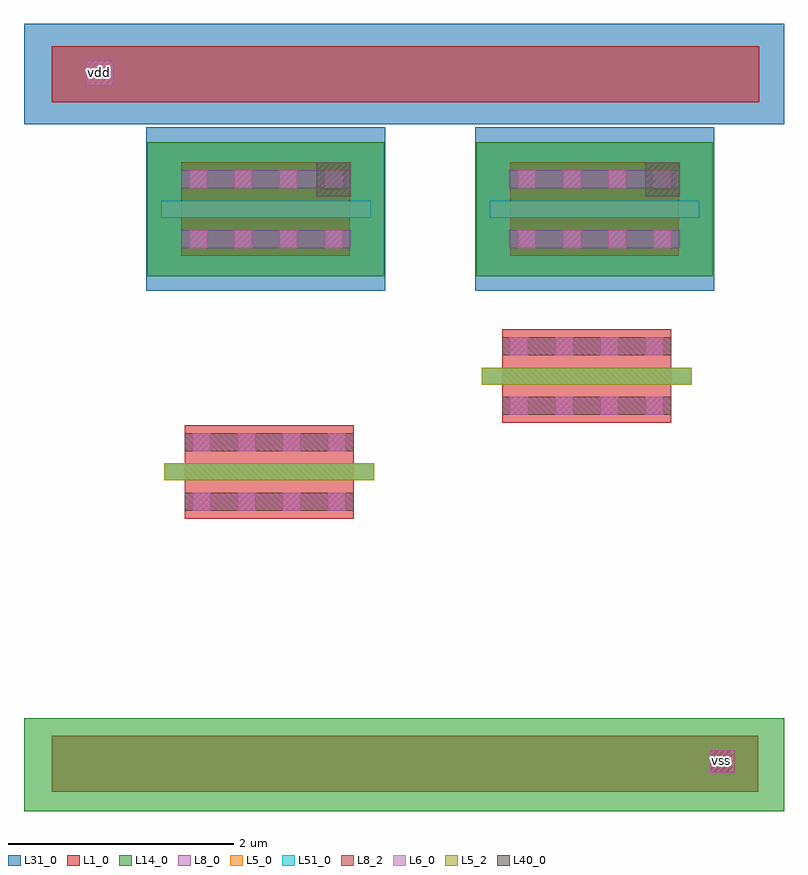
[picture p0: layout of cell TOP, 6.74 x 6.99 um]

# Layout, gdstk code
from math import pi, radians
import gdstk
lib = gdstk.Library(unit=1e-6, precision=5e-09)
def R(c, l, rs):  # rectangles x0, y0, x1, y1
    for r in rs: c.add(gdstk.rectangle(r[:2], r[2:], *l))
def A(c, l, x, y, w, h, nx, ny, dx, dy):  # array of equal rectangles
    R(c, l, [(x+i*dx, y+j*dy, x+i*dx+w, y+j*dy+h) for i in range(nx) for j in range(ny)])
def P(c, l, *ps):  # polygons
    for p in ps: c.add(gdstk.Polygon(p, *l))
L1_0 = (1, 0)
L5_0 = (5, 0)
L5_2 = (5, 2)
L6_0 = (6, 0)
L8_0 = (8, 0)
L8_2 = (8, 2)
L14_0 = (14, 0)
L31_0 = (31, 0)
L40_0 = (40, 0)
L51_0 = (51, 0)

pmos = lib.new_cell('pmos')
R(pmos, L1_0, [(0,0,0.3,0.3), (0,0,0.83,1.5), (0.53,0,0.83,0.3)])
R(pmos, L5_0, [(0.34,-0.18,0.49,1.68), (0.34,-0.18,0.49,1.68)])
A(pmos, L6_0, 0.07, 0.07, 0.16, 0.16, 1, 4, 0, 0.4)
A(pmos, L6_0, 0.6, 0.07, 0.16, 0.16, 1, 4, 0, 0.4)
R(pmos, L8_0, [(0.07,0,0.23,1.5), (0.07,0,0.23,1.5), (0.6,0,0.76,1.5), (0.6,0,0.76,1.5)])
R(pmos, L14_0, [(-0.18,-0.3,1.01,1.8)])
R(pmos, L31_0, [(-0.31,-0.31,1.14,1.81)])
R(pmos, L40_0, [(0.53,0,0.83,0.3)])
R(pmos, L51_0, [(0.34,-0.18,0.49,1.68)])
pmos.add(gdstk.Label('pmos', (0.415,0.75), layer=63, texttype=0))
pmos.add(gdstk.Label('pmos', (0.415,0.75), layer=51, texttype=0))

nmos_1 = lib.new_cell('nmos$1')
R(nmos_1, L1_0, [(0,0,0.3,0.3), (0,0,0.83,1.5), (0.53,0,0.83,0.3)])
R(nmos_1, L5_0, [(0.34,-0.18,0.49,1.68)])
R(nmos_1, L5_2, [(0.34,-0.18,0.49,1.68)])
A(nmos_1, L6_0, 0.07, 0.07, 0.16, 0.16, 1, 4, 0, 0.4)
A(nmos_1, L6_0, 0.6, 0.07, 0.16, 0.16, 1, 4, 0, 0.4)
R(nmos_1, L8_0, [(0.07,0,0.23,1.5), (0.6,0,0.76,1.5)])
R(nmos_1, L8_2, [(0.07,0,0.23,1.5), (0.6,0,0.76,1.5)])
R(nmos_1, L51_0, [(0.34,-0.18,0.49,1.68)])
nmos_1.add(gdstk.Label('nmos', (0.415,0.75), layer=63, texttype=0))
nmos_1.add(gdstk.Label('nmos', (0.415,0.75), layer=51, texttype=0))

top = lib.new_cell('TOP')
R(top, L1_0, [(-6.465,-1.26,-0.2,-0.765), (-6.465,4.855,-0.19,5.35)])
R(top, L6_0, [(-0.625,-1.095,-0.41,-0.895), (-6.16,5.005,-5.92,5.225)])
R(top, L8_2, [(-0.625,-1.095,-0.41,-0.895), (-6.16,5.005,-5.92,5.225)])
P(top, L14_0, [(-6.71,-1.435),(-6.71,-0.61),(-0.615,-0.61),(0.03,-0.61),(0.03,-1.435)])
R(top, L31_0, [(-6.71,4.66,0.03,5.55)])
top.add(gdstk.Reference(pmos, (-0.9,3.49), rotation=pi/2))
top.add(gdstk.Reference(pmos, (-3.815,3.49), rotation=pi/2))
top.add(gdstk.Reference(nmos_1, (-0.97,2.01), rotation=pi/2))
top.add(gdstk.Reference(nmos_1, (-3.785,1.16), rotation=pi/2))
top.add(gdstk.Label('vdd', (-6.04,5.12), layer=8, texttype=2))
top.add(gdstk.Label('vss', (-0.52,-0.985), layer=8, texttype=2))

lib.write_gds('TOP.gds')
